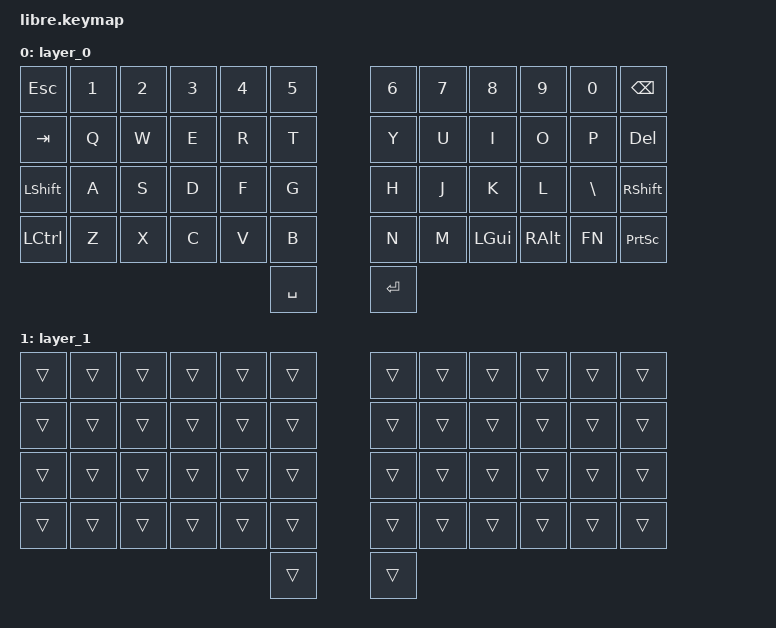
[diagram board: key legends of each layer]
#include <behaviors.dtsi>
#include <dt-bindings/zmk/keys.h>
#include <dt-bindings/zmk/bt.h>


/ {
    keymap {
        compatible = "zmk,keymap";

        layer_0 {
            bindings = <
&kp ESC    &kp N1  &kp N2  &kp N3  &kp N4  &kp N5                                      &kp N6  &kp N7  &kp N8    &kp N9    &kp N0    &kp BSPC
&kp TAB    &kp Q   &kp W   &kp E   &kp R   &kp T                                       &kp Y   &kp U   &kp I     &kp O     &kp P     &kp DEL
&kp LSHFT  &kp A   &kp S   &kp D   &kp F   &kp G                                       &kp H   &kp J   &kp K     &kp L     &kp BSLH  &kp RSHFT
&kp LCTRL  &kp Z   &kp X   &kp C   &kp V   &kp B                                       &kp N   &kp M   &kp LGUI  &kp RALT  &kp FN    &kp PRINTSCREEN 
                                                &kp SPACE                                   &kp RET                  
            >;
        };

        layer_1 {
            bindings = <
&trans  &trans  &trans  &trans  &trans  &trans                                        &trans  &trans  &trans  &trans  &trans  &trans  
&trans  &trans  &trans  &trans  &trans  &trans                                        &trans  &trans  &trans  &trans  &trans  &trans  
&trans  &trans  &trans  &trans  &trans  &trans                                        &trans  &trans  &trans  &trans  &trans  &trans  
&trans  &trans  &trans  &trans  &trans  &trans                                        &trans  &trans  &trans  &trans  &trans  &trans
                                                &trans                        &trans  
            >;
        };
    };
};
